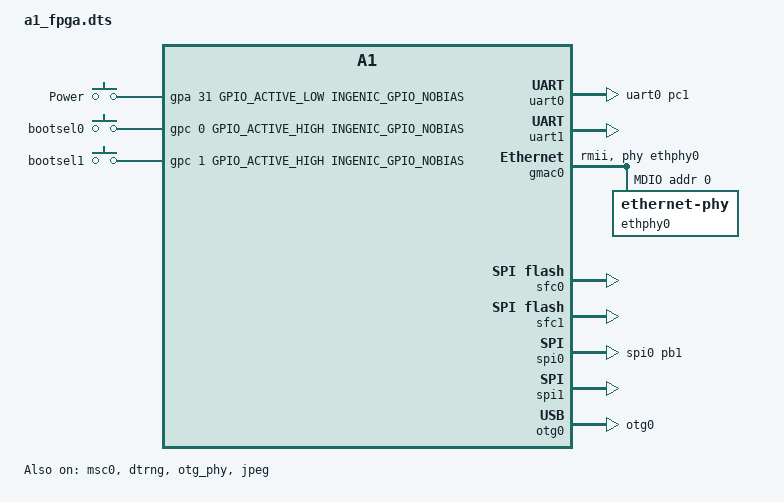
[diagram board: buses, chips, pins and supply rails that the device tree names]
/dts-v1/;

#include <dt-bindings/input/input.h>
#include "a1.dtsi"
#include <dt-bindings/interrupt-controller/irq.h>

/ {
	compatible = "ingenic,a1-fpga", "ingenic,a1";
};

&uart0 {
	status = "okay";
	pinctrl-names = "default";
	pinctrl-0 = <&uart0_pc1>;
};

&uart1 {
	status = "okay";
	pinctrl-names = "default";
	pinctrl-0 = <&uart1_pc>;
};

&uart2 {
	status = "disable";
};

&i2c0 {
	pinctrl-0 = <&i2c0_pa>;
	pinctrl-names = "default";
	status = "disabled";
};

&i2c1 {
	pinctrl-0 = <&i2c1_pa>;
	pinctrl-names = "default";
	status = "disabled";
};

&cpufreq {
	status = "okay";
	operating-points = <
		/*KHZ uV */
		1200000	900000
		750000	900000
		600000	900000
		500000	900000
		400000	900000
		375000	900000
		300000	900000
		200000	900000
			>;

};

//&pwm {
//	ingenic,pwm-outputs = <0>; /* <0 - 15> select which pwms are really used */
//}

&pdma {
	status = "okay";
};

&msc0 {
	status = "okay";
	pinctrl-names = "default";
	/*mmc-hs200-1_8v;*/
	cap-mmc-highspeed;
	max-frequency = <50000000>;
	bus-width = <4>;
	voltage-ranges = <1800 3300>;
	cd-inverted;

	/* special property */
	ingenic,wp-gpios = <0>;
	/*ingenic,cd-gpios = <&gpc 6 GPIO_ACTIVE_LOW INGENIC_GPIO_NOBIAS>;*/
	ingenic,rst-gpios = <0>;
	pinctrl-0 = <&msc0_pb>;
};

&msc1 {
	status = "disabled";
	pinctrl-names = "default";
	/*mmc-hs200-1_8v;*/
	cap-mmc-highspeed;
	max-frequency = <50000000>;
	bus-width = <4>;
	voltage-ranges = <1800 3300>;
	non-removable;

	/* special property */
	ingenic,wp-gpios = <0>;
	ingenic,rst-gpios = <0>;
	pinctrl-0 = <&msc1_pb>;
};

&gmac0 {
	pinctrl-names = "default", "reset";
	pinctrl-0 = <&gmac0_rmii_p0_normal>, <&gmac0_rmii_p1_normal>;
	pinctrl-1 = <&gmac0_rmii_p0_rst>, <&gmac0_rmii_p1_normal>;
	status = "okay";
	ingenic,mode-reg = <0xb00000c8>;	/* config phy control */
	phy-handle = <&ethphy0>;
	phy-mode = "rmii";

	mdio-0 {
		compatible = "snps,dwmac-mdio";
		#address-cells = <1>;
		#size-cells = <0>;
		ethphy0: ethernet-phy@0 {
			reg = <0>;				/* phy addr */
			max-speed = <100>;
			/*reset-gpios = <&gpb 26 GPIO_ACTIVE_LOW INGENIC_GPIO_NOBIAS>;*/
			/*reset-delay-us = <10000>;*/
		};
	};
};

&gmac1 {
	pinctrl-names = "default", "reset";
	pinctrl-0 = <&gmac1_rmii_p0_normal>, <&gmac1_rmii_p1_normal>;
	pinctrl-1 = <&gmac1_rmii_p0_rst>, <&gmac1_rmii_p1_normal>;
	status = "disabled";
	ingenic,mode-reg = <0xb00000c8>;	/* config phy control */
	phy-handle = <&ethphy1>;
	phy-mode = "rgmii";

	mdio-1 {
		compatible = "snps,dwmac-mdio";
		#address-cells = <1>;
		#size-cells = <0>;
		ethphy1: ethernet-phy@1 {
			reg = <0>;				/* phy addr */
			max-speed = <1000>;
			/*reset-gpios = <&gpb 26 GPIO_ACTIVE_LOW INGENIC_GPIO_NOBIAS>;*/
			/*reset-delay-us = <10000>;*/
		};
	};
};

&sata {
	status = "disabled";
	pinctrl-names = "default";
};

&sfc0 {
	status = "okay";
    pinctrl-names = "default";
	ingenic,sfc-max-frequency = <50000000>;
	ingenic,use_board_info      = /bits/ 8 <0>;
	ingenic,spiflash_param_offset = <0>;
	pinctrl-0 = <&sfc0_pc>;
};

&sfc1 {
	status = "okay";
    pinctrl-names = "default";
	ingenic,sfc-max-frequency = <50000000>;
	ingenic,use_board_info      = /bits/ 8 <0>;
	ingenic,spiflash_param_offset = <0>;
	pinctrl-0 = <&sfc1_pb>;
};


&spi0 {
	status = "okay";
	pinctrl-names = "default";
	pinctrl-0 = <&spi0_pb1>;

	spi-max-frequency = <48000000>;
	num-cs = <2>;
	cs-gpios = <0>, <0>;
	ingenic,chnl = <0>;
	ingenic,allow_cs_same = <1>;
	ingenic,bus_num = <0>;
	ingenic,has_dma_support = <1>;
};

&spi1 {
	status = "okay";
	pinctrl-names = "default";
	pinctrl-0 = <&spi1_pc>;

	spi-max-frequency = <48000000>;
	num-cs = <2>;
	cs-gpios = <0>, <0>;
	ingenic,chnl = <1>;
	ingenic,allow_cs_same = <1>;
	ingenic,bus_num = <1>;
	ingenic,has_dma_support = <1>;
};

#if 0
&vde_dsc {
	status = "okay";
	pinctrl-names = "hdmi" "vga" "tft";
	pinctrl-0 = <&hdmi_i2c_pb>, <&hdmi_hot_pb>, <&hdmi_cec_pb>;
	pinctrl-1 = <&vga_pc>;
	pinctrl-2 = <&lcd_pe>;
};
#endif
&dtrng {
	status = "okay";
};

&otg0 {
	g-use-dma;
	dr_mode = "otg0";
	status = "okay";
};

&otg1 {
	g-use-dma;
	dr_mode = "otg1";
	status = "disabled";
};

&otg2 {
	g-use-dma;
	dr_mode = "otg2";
	status = "disabled";
};

&otg_phy {
	dr_mode = "otg";
	compatible = "ingenic,innophy", "syscon";
	ingenic,drvvbus-gpio = <&gpb 27 GPIO_ACTIVE_HIGH INGENIC_GPIO_NOBIAS>;
	status = "okay";
};

&jpeg {
	status = "okay";
};

/ {

	extclk: extclk {
		clock-frequency = <24000000>;
	};

	gpio_keys: gpio_keys {
		   compatible = "gpio-keys";

		   power {
			   label = "Power";
			   linux,code = <KEY_POWER>;
			   gpios = <&gpa 31 GPIO_ACTIVE_LOW INGENIC_GPIO_NOBIAS>;
			   gpio-key,wakeup;
		   };
            bootsel0 {
                label = "bootsel0";
                linux,code = <KEY_HOME>;
                gpios = <&gpc 0 GPIO_ACTIVE_HIGH INGENIC_GPIO_NOBIAS>;
            };

            bootsel1 {
                label = "bootsel1";
                linux,code = <KEY_BACK>;
                gpios = <&gpc 1 GPIO_ACTIVE_HIGH INGENIC_GPIO_NOBIAS>;
            };

	   };
};
